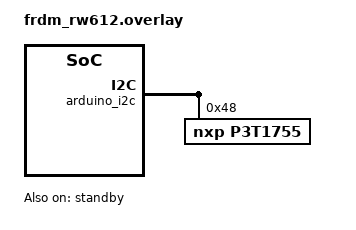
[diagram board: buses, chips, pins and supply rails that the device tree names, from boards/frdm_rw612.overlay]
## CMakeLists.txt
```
cmake_minimum_required(VERSION 3.20.0)
find_package(Zephyr REQUIRED HINTS $ENV{ZEPHYR_BASE})
project(ml_mqtt_telemetry)

target_sources(app PRIVATE
    src/main.cpp
    src/temp_sensor.cpp
    src/wifi_link.cpp
    src/mqtt_publisher.cpp
)
target_include_directories(app PRIVATE src)
```

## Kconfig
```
mainmenu "Project 3 - telemetry over Wi-Fi and MQTT"

config APP_DEVICE_ID
	string "Device ID used in the MQTT client ID and in every message"
	default "rw612-01"

config APP_WIFI_SSID
	string "Wi-Fi network name (leave empty to skip networking)"
	default ""

config APP_WIFI_PSK
	string "Wi-Fi password"
	default ""

config APP_WIFI_SECURITY
	int "Wi-Fi security type (same numbers as 'wifi connect -k': 1 = WPA2-PSK, 5 = SAE-AUTO, 10 = WPA-Auto-Personal)"
	default 1

config APP_MQTT_BROKER_ADDR
	string "MQTT broker IPv4 address (leave empty to skip networking)"
	default ""

config APP_MQTT_BROKER_PORT
	int "MQTT broker port"
	default 1883

config APP_MQTT_TOPIC
	string "MQTT topic to publish to"
	default "rw612/telemetry"

source "Kconfig.zephyr"
```

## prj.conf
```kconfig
# C++17 for the application layer. Exceptions and RTTI stay off (Zephyr's default).
CONFIG_CPP=y
CONFIG_STD_CPP17=y

# Zephyr's sensor API; the P3T1755 driver is picked up from the devicetree overlay
CONFIG_SENSOR=y
CONFIG_I2C=y

# Networking: mirrors Zephyr's own wifi shell sample, which is known to work on this board
CONFIG_NETWORKING=y
CONFIG_NET_IPV4=y
CONFIG_NET_IPV6=n
CONFIG_NET_TCP=y
CONFIG_NET_SOCKETS=y
CONFIG_NET_DHCPV4=y
# Not cryptographically secure. Fine for a home-LAN test; revisit before using TLS.
CONFIG_TEST_RANDOM_GENERATOR=y

CONFIG_NET_PKT_RX_COUNT=10
CONFIG_NET_PKT_TX_COUNT=10
CONFIG_NET_BUF_RX_COUNT=20
CONFIG_NET_BUF_TX_COUNT=20
CONFIG_NET_MAX_CONTEXTS=10
CONFIG_NET_TX_STACK_SIZE=2048
CONFIG_NET_RX_STACK_SIZE=2048

CONFIG_NET_MGMT_EVENT_INFO=y
CONFIG_NET_MGMT_EVENT_QUEUE_TIMEOUT=5000
CONFIG_NET_MGMT_EVENT_QUEUE_SIZE=16

CONFIG_WIFI=y
CONFIG_NET_L2_WIFI_MGMT=y
CONFIG_WIFI_LOG_LEVEL_ERR=y

# MQTT client library
CONFIG_MQTT_LIB=y
```

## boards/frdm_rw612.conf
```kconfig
# Copied from Zephyr's samples/net/wifi/shell/boards/frdm_rw612.conf (Apache-2.0, NXP),
# with a larger main stack because main() runs the MQTT client.
CONFIG_WIFI_NXP=y
CONFIG_NXP_RW610=y
CONFIG_ETH_DRIVER=n

# stack sizes
CONFIG_SYSTEM_WORKQUEUE_STACK_SIZE=2048
CONFIG_NET_MGMT_EVENT_STACK_SIZE=4608
CONFIG_NET_TCP_WORKQ_STACK_SIZE=2048
CONFIG_MAIN_STACK_SIZE=6144
CONFIG_IDLE_STACK_SIZE=1024
```

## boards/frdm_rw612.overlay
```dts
/*
 * The P3T1755 temperature sensor on the FRDM-RW612 sits on FlexComm 2 (I2C),
 * GPIO_16 = SDA, GPIO_17 = SCL, 7-bit address 0x48 (board user manual UM12160, section 2.5).
 * Zephyr's board file already calls that bus "arduino_i2c".
 */
/ {
	aliases {
		ambient-temp0 = &p3t1755;
	};
};

&arduino_i2c {
	status = "okay";

	p3t1755: p3t1755@48 {
		compatible = "nxp,p3t1755";
		reg = <0x48>;
	};
};

/* Same as Zephyr's wifi shell sample for this board (Apache-2.0, NXP) */
&standby {
	status = "okay";
};
```

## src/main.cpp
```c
/*
 * Project 3, step M2: read the P3T1755 once a second and publish the reading over MQTT.
 * If no Wi-Fi/broker settings are compiled in (secrets.conf), it only prints locally, like M1.
 */
#include <stdio.h>

#include <zephyr/kernel.h>
#include <zephyr/sys/printk.h>

#include "mqtt_publisher.hpp"
#include "temp_sensor.hpp"
#include "wifi_link.hpp"

namespace {

constexpr int kSamplePeriodMs  = 1000;
constexpr int kWifiTimeoutMs   = 30000;
constexpr int kMqttTimeoutMs   = 5000;
constexpr int kRetryDelayMs    = 5000;

bool network_configured()
{
    return CONFIG_APP_WIFI_SSID[0] != '\0' && CONFIG_APP_MQTT_BROKER_ADDR[0] != '\0';
}

/* Bring Wi-Fi and the MQTT session up if they are not. Returns true when ready to publish. */
bool ensure_network(telemetry::WifiLink &wifi, telemetry::MqttPublisher &mqtt)
{
    if (!wifi.is_up()) {
        mqtt.disconnect();
        printk("Connecting to Wi-Fi \"%s\" ...\n", CONFIG_APP_WIFI_SSID);
        const telemetry::WifiCredentials credentials{CONFIG_APP_WIFI_SSID, CONFIG_APP_WIFI_PSK,
                                                     CONFIG_APP_WIFI_SECURITY};
        if (!wifi.connect(credentials, kWifiTimeoutMs)) {
            return false;
        }
        printk("Wi-Fi is up\n");
    }

    if (!mqtt.connected()) {
        printk("Connecting to MQTT broker %s:%d ...\n", CONFIG_APP_MQTT_BROKER_ADDR, CONFIG_APP_MQTT_BROKER_PORT);
        if (!mqtt.connect(CONFIG_APP_MQTT_BROKER_ADDR, CONFIG_APP_MQTT_BROKER_PORT, CONFIG_APP_DEVICE_ID,
                          kMqttTimeoutMs)) {
            printk("MQTT connect failed\n");
            return false;
        }
        printk("MQTT connected\n");
    }
    return true;
}

} // namespace

int main(void)
{
    /* Objects are created inside main(), not as globals: Zephyr runs global C++ constructors
     * before main(), and I want to control when hardware and the network are touched. */
    telemetry::TempSensor sensor(DEVICE_DT_GET(DT_ALIAS(ambient_temp0)));
    telemetry::WifiLink wifi;
    telemetry::MqttPublisher mqtt;

    if (!sensor.ready()) {
        printk("Temperature sensor is not ready (check the overlay and the I2C pins)\n");
        return 0;
    }

    const bool use_network = network_configured() && wifi.start();
    if (use_network) {
        printk("Project 3: publishing to %s:%d, topic %s\n", CONFIG_APP_MQTT_BROKER_ADDR,
               CONFIG_APP_MQTT_BROKER_PORT, CONFIG_APP_MQTT_TOPIC);
    } else {
        printk("Project 3: no Wi-Fi/broker settings (see secrets.conf.example), printing locally only\n");
    }

    for (uint32_t seq = 0;; ++seq) {
        bool ready_to_publish = false;
        if (use_network) {
            ready_to_publish = ensure_network(wifi, mqtt);
            if (!ready_to_publish) {
                k_msleep(kRetryDelayMs);
            }
        }

        const telemetry::Reading r = sensor.read();
        if (r.error != telemetry::Error::None) {
            printk("#%u  sensor error %d\n", static_cast<unsigned int>(seq), static_cast<int>(r.error));
        } else {
            const int32_t m          = r.milli_celsius;
            const char *sign         = (m < 0) ? "-" : "";
            const uint32_t magnitude = static_cast<uint32_t>((m < 0) ? -m : m);
            printk("#%u  Temperature: %s%u.%03u C\n", static_cast<unsigned int>(seq), sign,
                   static_cast<unsigned int>(magnitude / 1000U), static_cast<unsigned int>(magnitude % 1000U));

            if (ready_to_publish) {
                /* Whole numbers only: millidegrees keep the message exact and need no float printing */
                char message[160];
                const int length = snprintf(message, sizeof(message),
                                            "{\"device\":\"%s\",\"seq\":%u,\"uptime_ms\":%u,\"temp_mC\":%d}",
                                            CONFIG_APP_DEVICE_ID, static_cast<unsigned int>(seq),
                                            static_cast<unsigned int>(k_uptime_get_32()), static_cast<int>(m));
                if (length > 0 && length < static_cast<int>(sizeof(message))) {
                    (void)mqtt.publish(CONFIG_APP_MQTT_TOPIC, message, static_cast<size_t>(length));
                }
            }
        }

        if (use_network) {
            mqtt.service();
        }
        k_msleep(kSamplePeriodMs);
    }

    return 0;
}
```

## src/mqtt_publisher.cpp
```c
#include "mqtt_publisher.hpp"

#include <errno.h>
#include <string.h>

#include <zephyr/kernel.h>
#include <zephyr/sys/printk.h>

namespace telemetry {

MqttPublisher *MqttPublisher::instance_ = nullptr;

bool MqttPublisher::connect(const char *broker_ipv4, uint16_t port, const char *client_id, int timeout_ms)
{
    instance_ = this;
    connected_ = false;

    mqtt_client_init(&client_);

    auto *addr = reinterpret_cast<sockaddr_in *>(&broker_);
    memset(&broker_, 0, sizeof(broker_));
    addr->sin_family = AF_INET;
    addr->sin_port   = htons(port);
    if (zsock_inet_pton(AF_INET, broker_ipv4, &addr->sin_addr) != 1) {
        printk("Bad broker address: %s\n", broker_ipv4);
        return false;
    }

    client_.broker           = &broker_;
    client_.evt_cb           = &MqttPublisher::on_event;
    client_.client_id.utf8   = reinterpret_cast<const uint8_t *>(client_id);
    client_.client_id.size   = static_cast<uint32_t>(strlen(client_id));
    client_.password         = nullptr;
    client_.user_name        = nullptr;
    client_.protocol_version = MQTT_VERSION_3_1_1;
    client_.rx_buf           = rx_buffer_;
    client_.rx_buf_size      = sizeof(rx_buffer_);
    client_.tx_buf           = tx_buffer_;
    client_.tx_buf_size      = sizeof(tx_buffer_);
    client_.transport.type   = MQTT_TRANSPORT_NON_SECURE;

    const int rc = mqtt_connect(&client_);
    if (rc != 0) {
        printk("mqtt_connect failed: %d\n", rc);
        return false;
    }

    /* Wait for the broker's CONNACK */
    const int64_t deadline = k_uptime_get() + timeout_ms;
    while (!connected_ && k_uptime_get() < deadline) {
        zsock_pollfd fds{};
        fds.fd     = client_.transport.tcp.sock;
        fds.events = ZSOCK_POLLIN;
        if (zsock_poll(&fds, 1, 500) > 0 && (fds.revents & ZSOCK_POLLIN)) {
            (void)mqtt_input(&client_);
        }
    }

    if (!connected_) {
        mqtt_abort(&client_);
        return false;
    }
    return true;
}

bool MqttPublisher::publish(const char *topic, const char *payload, size_t length)
{
    if (!connected_) {
        return false;
    }

    mqtt_publish_param param{};
    param.message.topic.qos        = MQTT_QOS_0_AT_MOST_ONCE;
    param.message.topic.topic.utf8 = reinterpret_cast<const uint8_t *>(topic);
    param.message.topic.topic.size = static_cast<uint32_t>(strlen(topic));
    param.message.payload.data     = reinterpret_cast<uint8_t *>(const_cast<char *>(payload));
    param.message.payload.len      = static_cast<uint32_t>(length);
    param.message_id               = next_message_id_++;
    if (next_message_id_ == 0) {
        next_message_id_ = 1;
    }
    param.dup_flag    = 0U;
    param.retain_flag = 0U;

    const int rc = mqtt_publish(&client_, &param);
    if (rc != 0) {
        printk("mqtt_publish failed: %d\n", rc);
        disconnect();
        return false;
    }
    return true;
}

void MqttPublisher::service()
{
    if (!connected_) {
        return;
    }

    zsock_pollfd fds{};
    fds.fd     = client_.transport.tcp.sock;
    fds.events = ZSOCK_POLLIN;
    if (zsock_poll(&fds, 1, 0) > 0) {
        if (fds.revents & (ZSOCK_POLLERR | ZSOCK_POLLHUP | ZSOCK_POLLNVAL)) {
            printk("MQTT socket closed\n");
            disconnect();
            return;
        }
        if (fds.revents & ZSOCK_POLLIN) {
            const int rc = mqtt_input(&client_);
            if (rc != 0 && rc != -EAGAIN) {
                printk("mqtt_input failed: %d\n", rc);
                disconnect();
                return;
            }
        }
    }

    (void)mqtt_live(&client_); /* sends a ping when the keep-alive time is nearly up */
}

void MqttPublisher::disconnect()
{
    if (connected_) {
        mqtt_abort(&client_);
    }
    connected_ = false;
}

void MqttPublisher::on_event(mqtt_client *client, const mqtt_evt *evt)
{
    ARG_UNUSED(client);

    MqttPublisher *self = instance_;
    if (self == nullptr) {
        return;
    }

    switch (evt->type) {
    case MQTT_EVT_CONNACK:
        if (evt->result == 0) {
            self->connected_ = true;
        } else {
            printk("MQTT broker refused the connection, result %d\n", evt->result);
        }
        break;
    case MQTT_EVT_DISCONNECT:
        self->connected_ = false;
        break;
    default:
        break;
    }
}

} // namespace telemetry
```

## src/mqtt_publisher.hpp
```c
#pragma once

#include <stddef.h>
#include <stdint.h>

#include <zephyr/net/mqtt.h>
#include <zephyr/net/socket.h>

namespace telemetry {

/* A small wrapper around Zephyr's MQTT client: connect, publish (QoS 0), keep the link alive.
 * Plain MQTT 3.1.1 over TCP, no TLS yet. Only one MqttPublisher may exist (see instance_). */
class MqttPublisher {
public:
    bool connect(const char *broker_ipv4, uint16_t port, const char *client_id, int timeout_ms);
    bool publish(const char *topic, const char *payload, size_t length);
    void service();
    void disconnect();
    bool connected() const { return connected_; }

private:
    static void on_event(mqtt_client *client, const mqtt_evt *evt);

    static MqttPublisher *instance_;

    mqtt_client client_{};
    sockaddr_storage broker_{};
    uint8_t rx_buffer_[256] = {};
    uint8_t tx_buffer_[512] = {};
    volatile bool connected_ = false;
    uint16_t next_message_id_ = 1;
};

} // namespace telemetry
```

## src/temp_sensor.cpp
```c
#include "temp_sensor.hpp"

#include <zephyr/drivers/sensor.h>

namespace telemetry {

Reading TempSensor::read() const
{
    if (sensor_sample_fetch(dev_) != 0) {
        return {Error::Fetch, 0};
    }

    sensor_value value{};
    if (sensor_channel_get(dev_, SENSOR_CHAN_AMBIENT_TEMP, &value) != 0) {
        return {Error::Channel, 0};
    }

    return {Error::None, static_cast<int32_t>(sensor_value_to_milli(&value))};
}

} // namespace telemetry
```

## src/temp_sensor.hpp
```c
#pragma once

#include <cstdint>

#include <zephyr/device.h>

namespace telemetry {

enum class Error : int32_t {
    None = 0,
    Fetch,   /* the driver could not read the sensor */
    Channel, /* the driver could not give us the temperature value */
};

struct Reading {
    Error error;
    int32_t milli_celsius; /* thousandths of a degree C; only valid when error == None */
};

/* A thin wrapper around Zephyr's sensor API. No heap, no exceptions. */
class TempSensor {
public:
    explicit TempSensor(const device *dev) : dev_(dev) {}

    bool ready() const { return device_is_ready(dev_); }
    Reading read() const;

private:
    const device *dev_;
};

} // namespace telemetry
```

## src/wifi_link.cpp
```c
#include "wifi_link.hpp"

#include <string.h>

#include <zephyr/net/dhcpv4.h>
#include <zephyr/net/wifi_mgmt.h>
#include <zephyr/sys/printk.h>

namespace telemetry {

WifiLink *WifiLink::instance_ = nullptr;

bool WifiLink::start()
{
    iface_ = net_if_get_first_wifi();
    if (iface_ == nullptr) {
        printk("No Wi-Fi interface found\n");
        return false;
    }

    instance_ = this;
    k_sem_init(&connect_sem_, 0, 1);
    k_sem_init(&ip_sem_, 0, 1);

    net_mgmt_init_event_callback(&wifi_callback_, &WifiLink::on_event,
                                 NET_EVENT_WIFI_CONNECT_RESULT | NET_EVENT_WIFI_DISCONNECT_RESULT);
    net_mgmt_add_event_callback(&wifi_callback_);

    net_mgmt_init_event_callback(&ipv4_callback_, &WifiLink::on_event, NET_EVENT_IPV4_ADDR_ADD);
    net_mgmt_add_event_callback(&ipv4_callback_);
    return true;
}

bool WifiLink::connect(const WifiCredentials &credentials, int timeout_ms)
{
    if (iface_ == nullptr) {
        return false;
    }

    link_up_ = false;
    has_ip_  = false;
    k_sem_reset(&connect_sem_);
    k_sem_reset(&ip_sem_);

    wifi_connect_req_params params{};
    params.ssid        = reinterpret_cast<const uint8_t *>(credentials.ssid);
    params.ssid_length = static_cast<uint8_t>(strlen(credentials.ssid));
    params.security    = static_cast<wifi_security_type>(credentials.security);
    if (credentials.security != WIFI_SECURITY_TYPE_NONE) {
        /* PSK types read the password from psk, SAE (WPA3) types from sae_password */
        params.psk                 = reinterpret_cast<const uint8_t *>(credentials.psk);
        params.psk_length          = static_cast<uint8_t>(strlen(credentials.psk));
        params.sae_password        = reinterpret_cast<const uint8_t *>(credentials.psk);
        params.sae_password_length = static_cast<uint8_t>(strlen(credentials.psk));
    }
    params.band    = WIFI_FREQ_BAND_UNKNOWN;
    params.channel = WIFI_CHANNEL_ANY;
    params.mfp     = WIFI_MFP_OPTIONAL;
    params.timeout = SYS_FOREVER_MS;

    const int rc = net_mgmt(NET_REQUEST_WIFI_CONNECT, iface_, &params, sizeof(params));
    if (rc != 0) {
        printk("Wi-Fi connect request failed: %d\n", rc);
        return false;
    }

    if (k_sem_take(&connect_sem_, K_MSEC(timeout_ms)) != 0) {
        printk("Wi-Fi connect timed out\n");
        disconnect();
        return false;
    }
    if (connect_status_ != 0) {
        printk("Wi-Fi connect failed, status %d\n", connect_status_);
        return false;
    }

    /* Zephyr normally starts DHCP by itself; if no address shows up, start it by hand. */
    if (!has_ip_ && k_sem_take(&ip_sem_, K_SECONDS(10)) != 0) {
        net_dhcpv4_start(iface_);
        if (!has_ip_ && k_sem_take(&ip_sem_, K_SECONDS(20)) != 0) {
            printk("No IPv4 address from DHCP\n");
            return false;
        }
    }
    return true;
}

void WifiLink::disconnect()
{
    if (iface_ != nullptr) {
        (void)net_mgmt(NET_REQUEST_WIFI_DISCONNECT, iface_, nullptr, 0);
    }
    link_up_ = false;
    has_ip_  = false;
}

void WifiLink::on_event(net_mgmt_event_callback *cb, uint64_t event, net_if *iface)
{
    ARG_UNUSED(iface);

    WifiLink *self = instance_;
    if (self == nullptr) {
        return;
    }

    if (event == NET_EVENT_WIFI_CONNECT_RESULT) {
        const auto *status  = reinterpret_cast<const wifi_status *>(cb->info);
        self->connect_status_ = (status != nullptr) ? status->status : -1;
        self->link_up_        = (self->connect_status_ == 0);
        printk("Wi-Fi connect result: status %d\n", self->connect_status_);
        k_sem_give(&self->connect_sem_);
    } else if (event == NET_EVENT_WIFI_DISCONNECT_RESULT) {
        printk("Wi-Fi disconnected\n");
        self->link_up_ = false;
        self->has_ip_  = false;
    } else if (event == NET_EVENT_IPV4_ADDR_ADD) {
        printk("IPv4 address acquired\n");
        self->has_ip_ = true;
        k_sem_give(&self->ip_sem_);
    }
}

} // namespace telemetry
```

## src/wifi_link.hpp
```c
#pragma once

#include <zephyr/kernel.h>
#include <zephyr/net/net_if.h>
#include <zephyr/net/net_mgmt.h>

namespace telemetry {

struct WifiCredentials {
    const char *ssid;
    const char *psk;
    int security; /* same numbers as 'wifi connect -k' in Zephyr's wifi shell */
};

/* Connects to a Wi-Fi network and waits for an IPv4 address. No heap, no exceptions.
 * Only one WifiLink may exist: Zephyr's event callback has no user-data pointer. */
class WifiLink {
public:
    bool start();
    bool connect(const WifiCredentials &credentials, int timeout_ms);
    void disconnect();
    bool is_up() const { return link_up_ && has_ip_; }

private:
    static void on_event(net_mgmt_event_callback *cb, uint64_t event, net_if *iface);

    static WifiLink *instance_;

    net_if *iface_ = nullptr;
    /* Zephyr matches a callback against ONE event layer: Wi-Fi events and IPv4 events need
     * separate callbacks (one combined mask matches neither). */
    net_mgmt_event_callback wifi_callback_{};
    net_mgmt_event_callback ipv4_callback_{};
    k_sem connect_sem_{};
    k_sem ip_sem_{};
    volatile bool link_up_      = false;
    volatile bool has_ip_       = false;
    volatile int connect_status_ = -1;
};

} // namespace telemetry
```
